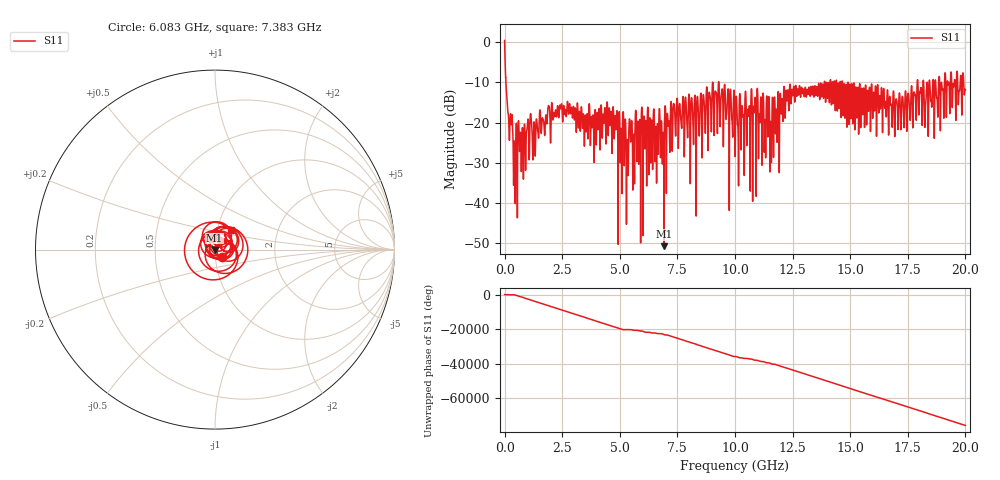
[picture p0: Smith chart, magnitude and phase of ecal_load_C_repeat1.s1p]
! MS46122B
! 2250307/22442219
! 7/24/2025 7:44:25 AM
! C:\USERS\SPARKY\DOCUMENTS\VNA_DATA\JULY24_2025\3K\ECAL_LOAD_C_REPEAT1.S1P
! CHANNEL.1
! TR.MEASUREMENT
! RAW.DATA
# GHZ S RI R 50.0
! FREQ.GHZ  S11RE  S11IM
!; PortSelection: Port_1
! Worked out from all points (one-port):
!   10001 points, 1 MHz to 20 GHz, reference 50 ohm
!   lowest |S11| = -50.7 dB at 6.917 GHz (marker M1), VSWR 1.01, Z = 49.7 - j0.141 ohm
!   |S11| at or under -10 dB: 57.18 MHz to 9.029 GHz (8.972 GHz wide, 197 % of centre); 9.3 GHz to 13.88 GHz (4.579 GHz wide, 39.5 % of centre); 14.91 GHz to 17.91 GHz (3.001 GHz wide, 18.3 % of centre) (the widest 3 of 28)
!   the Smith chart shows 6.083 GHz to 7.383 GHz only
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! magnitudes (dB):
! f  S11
! 1 MHz  0.4
! 145 MHz  -17.3
! 469 MHz  -33.9
! 1.075 GHz  -28.4
! 1.271 GHz  -20.2
! 1.869 GHz  -17.4
! 2.501 GHz  -17.7
! 3.807 GHz  -21.1
! 4.527 GHz  -17.1
! 5.001 GHz  -20.7
! 5.165 GHz  -19.0
! 5.283 GHz  -33.5
! 5.453 GHz  -22.3
! 5.557 GHz  -29.4
! 6.139 GHz  -20.3
! 6.917 GHz  -50.7
! 7.293 GHz  -20.9
! 7.501 GHz  -14.4
! 8.389 GHz  -14.6
! 9.101 GHz  -18.5
! 10 GHz  -22.6
! 10.08 GHz  -17.1
! 10.9 GHz  -17.7
! 11.59 GHz  -20.4
! 12.5 GHz  -13.2
! 15 GHz  -11.1
! 17.5 GHz  -13.1
! 20 GHz  -11.9
